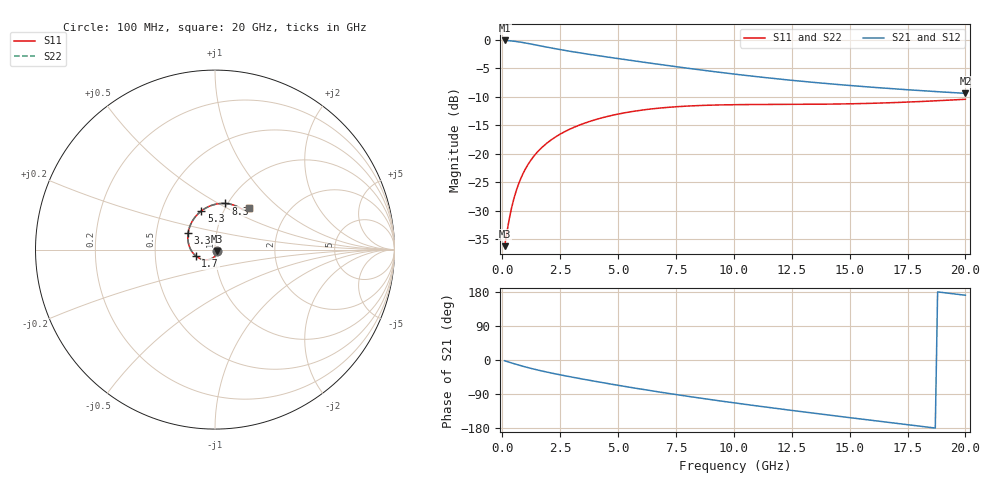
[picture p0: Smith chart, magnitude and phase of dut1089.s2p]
! Touchstone file exported from HFSS 2024.1.0
!  File:  C:/UserFiles/LocalFiles/RDL_TSV_Batchsim/temp_RDL_TSV_1089_1780097469.aedt
!  Generated:  07:41:04 AM May 30, 2026
!  Design:  RDL_TSV
!  Project:  temp_RDL_TSV_1089_1780097469
!  Setup:  Setup1
!  Solution:  Sweep
! Variables:
!  dtsv = 14.99um
!  hbump = 3um
!  htsv = 97.34um
!  ldown = 248.99um
!  lrdl = 363.66um
!  p = 40
!  p1 = 50.91um
!  rhole = 10um
!  subl = 2201.61um
!  t = 450um
!  tdown = 3.08um
!  trdl = 2.56um
!  viad = 10um
!  wdown = 25.1um
!  wrdl = 21.14um
!  xbump = 18um
# GHz S MA R 50.000000
! Terminal data exported
! Port[1] = TM1_1_T1
! Port[2] = TM1_4_T1
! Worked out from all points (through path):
!   200 points, 100 MHz to 20 GHz, reference 50 ohm
!   highest |S21| = -0.12 dB at 100 MHz (marker M1); lowest = -9.4 dB at 20 GHz (marker M2)
!   group delay of S21, straight-line fit = 24.6 ps
!   lowest |S11| = -36.3 dB at 100 MHz (marker M3), VSWR 1.03, Z = 51.3 - j0.857 ohm
!   |S11| at or under -10 dB: start of sweep to end of sweep
!   |S22| runs from -36.3 to -10.5 dB; largest |S21 - S12| = 2.5e-14
!   S11 on the Smith chart (normalised r, x): 100 MHz: 1.03, -0.02; 1.7 GHz: 0.80, -0.06; 3.3 GHz: 0.73, +0.14; 5.3 GHz: 0.79, +0.36; 8.3 GHz: 0.98, +0.54; 20 GHz: 1.29, +0.65
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0.1  0.01539 -32.8  0.9857 -2.0  0.9857 -2.0  0.01539 -32.8
! Gamma 0 0 0 0
! Port Impedance 50 0 50 0
0.3  0.02664 -74.2  0.9802 -5.9  0.9802 -5.9  0.02664 -74.1
0.4  0.03333 -86.0  0.9759 -7.8  0.9759 -7.8  0.03333 -86.0
0.5  0.04019 -95.4  0.9709 -9.6  0.9709 -9.6  0.04018 -95.4
0.7  0.05386 -110.5  0.9587 -13.2  0.9587 -13.2  0.05385 -110.5
0.9  0.06706 -123.0  0.9444 -16.7  0.9444 -16.7  0.06705 -123.0
1.1  0.07958 -134.0  0.9286 -20.0  0.9286 -20.0  0.07957 -134.0
1.4  0.09696 -148.7  0.9039 -24.6  0.9039 -24.6  0.09695 -148.7
1.7  0.1127 -161.7  0.8792 -28.9  0.8792 -28.9  0.1127 -161.7
2.4  0.1443 172.9  0.8262 -37.9  0.8262 -37.9  0.1443 172.8
3.3  0.1771 147.5  0.7695 -48.5  0.7695 -48.5  0.1771 147.5
3.5  0.1835 142.7  0.7583 -50.7  0.7583 -50.7  0.1835 142.7
4.4  0.2087 124.2  0.7117 -60.5  0.7117 -60.5  0.2087 124.1
5.3  0.2286 109.4  0.6697 -69.8  0.6697 -69.8  0.2287 109.3
6.8  0.2512 90.7  0.6067 -84.6  0.6067 -84.6  0.2513 90.6
8.3  0.2634 77.3  0.552 -98.4  0.552 -98.4  0.2635 77.3
10.1  0.2691 66.3  0.4971 -113.8  0.4971 -113.8  0.2693 66.3
11.7  0.2704 59.9  0.4574 -126.8  0.4574 -126.8  0.2705 59.9
13.4  0.2712 55.7  0.423 -140.0  0.423 -140.0  0.2714 55.7
15  0.2737 53.5  0.3966 -152.1  0.3966 -152.1  0.2739 53.5
16.7  0.2795 52.1  0.3734 -164.8  0.3734 -164.8  0.2797 52.1
20  0.3001 50.4  0.3383 170.8  0.3383 170.8  0.3003 50.4
